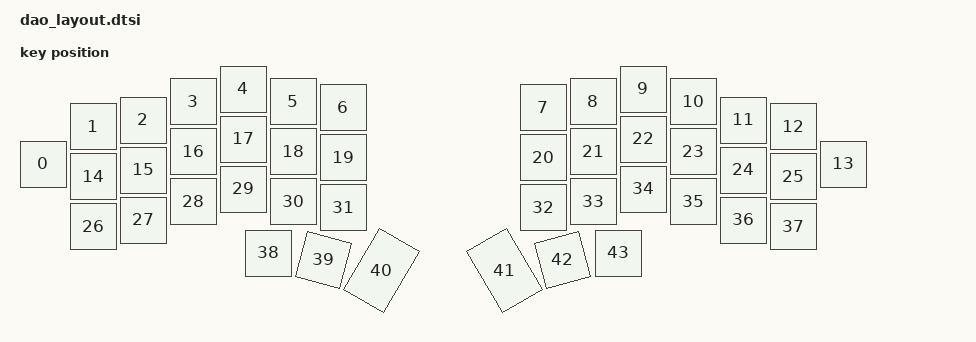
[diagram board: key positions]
#include <physical_layouts.dtsi>

#include "position_map.dtsi"

/ {
        dao_full_layout: dao_full_layout {
                compatible = "zmk,physical-layout";
                display-name = "Dao";

                keys  //                 w   h    x    y     rot    rx    ry
                = <&key_physical_attrs 100 100    0  150       0     0     0>
                , <&key_physical_attrs 100 100  100   75       0     0     0>
                , <&key_physical_attrs 100 100  200   62       0     0     0>
                , <&key_physical_attrs 100 100  300   25       0     0     0>
                , <&key_physical_attrs 100 100  400    0       0     0     0>
                , <&key_physical_attrs 100 100  500   25       0     0     0>
                , <&key_physical_attrs 100 100  600   37       0     0     0>
                , <&key_physical_attrs 100 100 1000   37       0     0     0>
                , <&key_physical_attrs 100 100 1100   25       0     0     0>
                , <&key_physical_attrs 100 100 1200    0       0     0     0>
                , <&key_physical_attrs 100 100 1300   25       0     0     0>
                , <&key_physical_attrs 100 100 1400   62       0     0     0>
                , <&key_physical_attrs 100 100 1500   75       0     0     0>
                , <&key_physical_attrs 100 100 1600  150       0     0     0>
                , <&key_physical_attrs 100 100  100  175       0     0     0>
                , <&key_physical_attrs 100 100  200  162       0     0     0>
                , <&key_physical_attrs 100 100  300  125       0     0     0>
                , <&key_physical_attrs 100 100  400  100       0     0     0>
                , <&key_physical_attrs 100 100  500  125       0     0     0>
                , <&key_physical_attrs 100 100  600  137       0     0     0>
                , <&key_physical_attrs 100 100 1000  137       0     0     0>
                , <&key_physical_attrs 100 100 1100  125       0     0     0>
                , <&key_physical_attrs 100 100 1200  100       0     0     0>
                , <&key_physical_attrs 100 100 1300  125       0     0     0>
                , <&key_physical_attrs 100 100 1400  162       0     0     0>
                , <&key_physical_attrs 100 100 1500  175       0     0     0>
                , <&key_physical_attrs 100 100  100  275       0     0     0>
                , <&key_physical_attrs 100 100  200  262       0     0     0>
                , <&key_physical_attrs 100 100  300  225       0     0     0>
                , <&key_physical_attrs 100 100  400  200       0     0     0>
                , <&key_physical_attrs 100 100  500  225       0     0     0>
                , <&key_physical_attrs 100 100  600  237       0     0     0>
                , <&key_physical_attrs 100 100 1000  237       0     0     0>
                , <&key_physical_attrs 100 100 1100  225       0     0     0>
                , <&key_physical_attrs 100 100 1200  200       0     0     0>
                , <&key_physical_attrs 100 100 1300  225       0     0     0>
                , <&key_physical_attrs 100 100 1400  262       0     0     0>
                , <&key_physical_attrs 100 100 1500  275       0     0     0>
                , <&key_physical_attrs 100 100  450  328       0     0     0>
                , <&key_physical_attrs 100 100  561  342    1500   611   392>
                , <&key_physical_attrs 100 150  677  338    3000   727   413>
                , <&key_physical_attrs 100 150  923  338 (-3000)   973   413>
                , <&key_physical_attrs 100 100 1039  342 (-1500)  1089   392>
                , <&key_physical_attrs 100 100 1150  328       0     0     0>
                ;
        };
};

&layouts_dao_position_map{
        dao {
                physical-layout = <&dao_full_layout>;

                positions
                = < 0  1  2  3  4  5  6        7  8  9 10 11 12 13>
                , <   14 15 16 17 18 19       20 21 22 23 24 25   >
                , <   26 27 28 29 30 31       32 33 34 35 36 37   >
                , <               38 39 40 41 42 43               >;
        };
};
